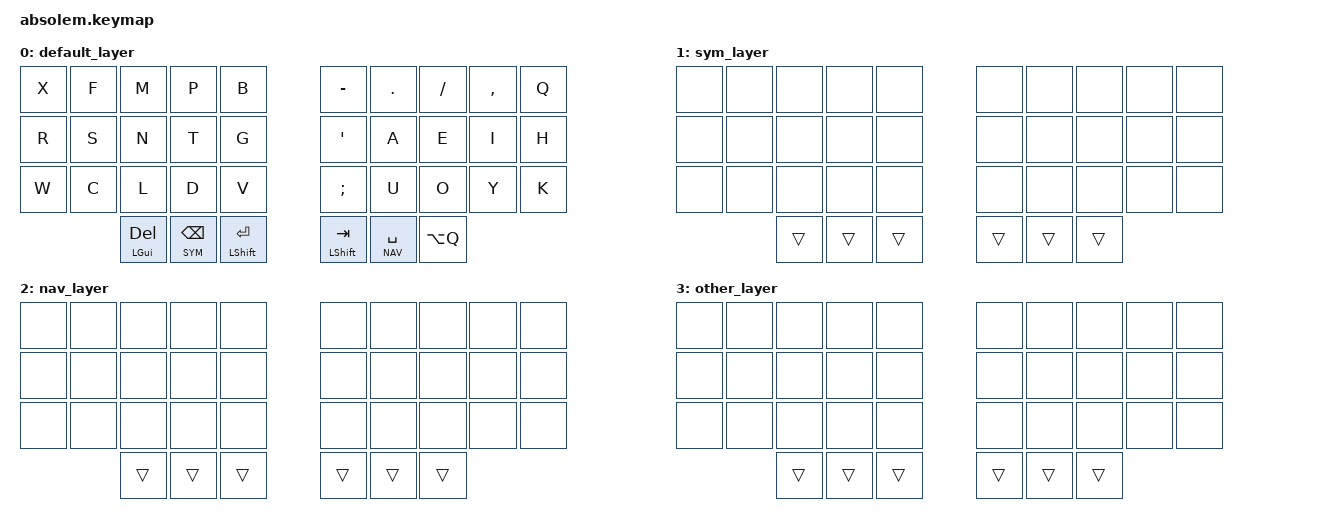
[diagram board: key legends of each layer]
#include <behaviors.dtsi>
#include <dt-bindings/zmk/keys.h>

/* Layers */
#define DEF 0
#define SYM 1
#define NAV 2
#define OTH 3

/* Shortcuts */
#define PC_UNDO LC(Z)
#define PC_ALL LC(A)
#define PC_CUT LC(X)
#define PC_COPY LC(C)
#define PC_PASTE LC(V)
#define WIN_RUN LA(Q)

/* Key Position Groups */
 #define KEYS_LEFT 0 1 2 3 4 10 11 12 13 14 20 21 22 23 24
 #define KEYS_RIGHT 5 6 7 8 9 15 16 17 18 19 25 25 27 28 29
 #define KEYS_THUMBS 30 31 32 33 34 35

/* Behavior Settings */
&sk {
  quick-release;
};

/ {
    behaviors {
        mtl: mod_tap_left {
             compatible = "zmk,behavior-hold-tap";
             #binding-cells = <2>;
             flavor = "balanced";
             tapping-term-ms = <280>;
             quick-tap-ms = <175>;
             require-prior-idle-ms = <150>;
             bindings = <&kp>, <&kp>;
             hold-trigger-key-positions = <KEYS_RIGHT KEYS_THUMBS>;
             hold-trigger-on-release;
         };
         mtr: mod_tap_right {
             compatible = "zmk,behavior-hold-tap";
             #binding-cells = <2>;
             flavor = "balanced";
             tapping-term-ms = <280>;
             quick-tap-ms = <175>;
             require-prior-idle-ms = <150>;
             bindings = <&kp>, <&kp>;
             hold-trigger-key-positions = <KEYS_LEFT KEYS_THUMBS>;
             hold-trigger-on-release;
         };
    };

    macros {
        homedir_str: homedir_str {
            compatible = "zmk,behavior-macro";
            #binding-cells = <0>;
            wait-ms = <40>;
            tap-ms = <40>;
            bindings
            = <&kp TILDE &kp FSLH>;
        };
    };

    combos {
        compatible = "zmk,combos";

        /*                KEY POSITIONS

             0   1   2   3   4      5   6   7   8   9
            10  11  12  13  14     15  16  17  18  19
            20  21  22  23  24     25  26  27  28  29
                    30  31  32     33  34  35            */

        /* LEFT HAND
           combos are defined from leftmost key to rightmost key */

        /* UPPER ROW */
        refresh { key-positions = <2 4>; bindings = <&kp K_REFRESH>; layers = <DEF>; };
        hash { key-positions = <2 13>; bindings = <&kp HASH>; layers = <DEF>; };
        
        /* MIDDLE ROW */
        screenshot { key-positions = <11 2>; bindings = <&kp PSCRN>; layers = <DEF>; };
        oneshot_lctl { key-positions = <11 12>; bindings = <&sk LCTRL>; layers = <DEF>; };
        lprn { key-positions = <11 13>; bindings = <&kp LPAR>; layers = <DEF>; };
        lcbr { key-positions = <11 3>; bindings = <&kp LBKT>; layers = <DEF>; };
        lbrc { key-positions = <11 23>; bindings = <&kp LBRC>; layers = <DEF>; };
        labk { key-positions = <11 14>; bindings = <&kp LT>; layers = <DEF>; };
        asterisk { key-positions = <12 13>; bindings = <&kp ASTRK>; layers = <DEF>; };
        j { key-positions = <10 13>; bindings = <&kp J>; layers = <DEF>; };
        z { key-positions = <10 23>; bindings = <&kp Z>; layers = <DEF>; };
        
        /* LOWER ROW */
        oneshot_lalt { key-positions = <21 22>; bindings = <&sk LALT>; layers = <DEF>; };
        
        /* RIGHT HAND
           combos are defined from rightmost key to leftmost key */

        /* UPPER ROW
           punctuation */
        equal { key-positions = <8 7>; bindings = <&kp EQUAL>; layers = <DEF>; };
        at { key-positions = <8 6>; bindings = <&kp AT>; layers = <DEF>; };
        homedir { key-positions = <8 5>; bindings = <&homedir_str>; layers = <DEF>; };
        plus { key-positions = <7 6>; bindings = <&kp PLUS>; layers = <DEF>; };
        dollar { key-positions = <7 16>; bindings = <&kp DLLR>; layers = <DEF>; };
        backtick { key-positions = <7 5>; bindings = <&kp GRAVE>; layers = <DEF>; };
        
        /* MIDDLE ROW
           vim combos rooted from right home row middle finger */
        oneshot_rctl { key-positions = <18 17>; bindings = <&sk LCTRL>; layers = <DEF>; };
        rprn { key-positions = <18 16>; bindings = <&kp RPAR>; layers = <DEF>; };
        rcbr { key-positions = <18 6>; bindings = <&kp RBKT>; layers = <DEF>; };
        rbrc { key-positions = <18 26>; bindings = <&kp RBRC>; layers = <DEF>; };
        rabk { key-positions = <18 15>; bindings = <&kp GT>; layers = <DEF>; };
        ampersand { key-positions = <16 15>; bindings = <&kp AMPS>; layers = <DEF>; };
        
        /* LOWER ROW */
        oneshot_ralt { key-positions = <28 27>; bindings = <&sk LALT>; layers = <DEF>; };
        
        /* THUMBS */
        underscore { key-positions = <34 33>; bindings = <&kp UNDER>; layers = <DEF>; };
    };

    keymap {
        compatible = "zmk,keymap";
        default_layer {
            bindings = <
                &kp X     &kp F     &kp M     &kp P     &kp B       &kp MINUS &kp DOT   &kp SLASH &kp COMMA &kp Q
                &kp R     &kp S     &kp N     &kp T     &kp G       &kp SQT   &kp A     &kp E     &kp I     &kp H
                &kp W     &kp C     &kp L     &kp D     &kp V       &kp SEMI  &kp U     &kp O     &kp Y     &kp K
                      &mt LGUI DEL &lt SYM BSPC &mt LSHFT RET       &mt LSHFT TAB &lt NAV SPACE &kp WIN_RUN
            >;
        };
        sym_layer {
            bindings = <
                &none     &none     &none     &none     &none       &none     &none     &none     &none     &none 
                &none     &none     &none     &none     &none       &none     &none     &none     &none     &none 
                &none     &none     &none     &none     &none       &none     &none     &none     &none     &none 
                                    &trans    &trans    &trans      &trans    &trans    &trans
            >;
        };
        nav_layer {
            bindings = <
                &none     &none     &none     &none     &none       &none     &none     &none     &none     &none 
                &none     &none     &none     &none     &none       &none     &none     &none     &none     &none 
                &none     &none     &none     &none     &none       &none     &none     &none     &none     &none 
                                    &trans    &trans    &trans      &trans    &trans    &trans
            >;
        };
        other_layer {
            bindings = <
                &none     &none     &none     &none     &none       &none     &none     &none     &none     &none 
                &none     &none     &none     &none     &none       &none     &none     &none     &none     &none 
                &none     &none     &none     &none     &none       &none     &none     &none     &none     &none 
                                    &trans    &trans    &trans      &trans    &trans    &trans
            >;
        };
    };
};
